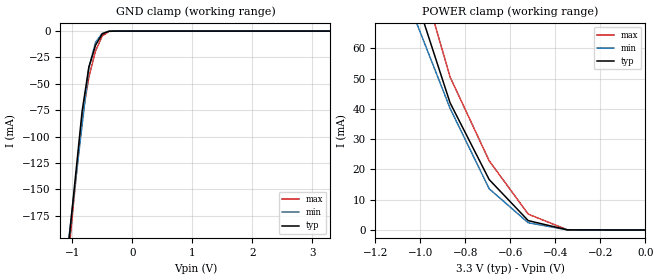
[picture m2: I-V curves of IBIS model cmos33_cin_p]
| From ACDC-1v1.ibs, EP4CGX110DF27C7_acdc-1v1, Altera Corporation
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[Model]   cmos33_cin_p
Model_type  Input
Polarity   Non-Inverting
Vinl   = 0.8
Vinh   = 1.7
| C_comp values for normal column I/O
C_comp 4.7pF   4.7pF   4.7pF
[Temperature Range] 25   85   0
[Voltage Range]  3.3   3.085   3.465
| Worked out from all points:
|   GND clamp passes 1 mA (typ) near -0.43 V on its own axis
|   POWER clamp passes 1 mA (typ) near -0.40 V on its own axis
[GND Clamp]
| voltage   I (typ)   I (min)   I (max)
-3.3V     -1.449A    -1.286A    -1.533A
-1.063V   -200.7mA   -197.6mA   -211mA
-950.8mV  -138.4mA   -143.2mA   -144.9mA
-839mV    -75.96mA   -88.9mA    -82.12mA
-727.1mV  -34.33mA   -34.92mA   -43.75mA
-615.2mV  -13.39mA   -10.72mA   -18.82mA
-503.4mV  -2.65mA    -2.136mA   -4.609mA
-391.5mV  -131.9uA   -144.3uA   -303.1uA
-279.7mV  -2.49uA    -5.277uA   -4.788uA
3.3V      0A         0A         0A
[POWER Clamp]
| voltage   I (typ)   I (min)   I (max)
-3.3V     563.3mA    490.8mA    628.3mA
-1.042V   81.71mA    73.14mA    95.33mA
-868.4mV  42.04mA    40.22mA    50.58mA
-694.7mV  16.67mA    13.63mA    22.89mA
-521.1mV  3.089mA    2.381mA    5.24mA
-347.4mV  36.31uA    53.51uA    71.94uA
0V        0A         0A         0A
